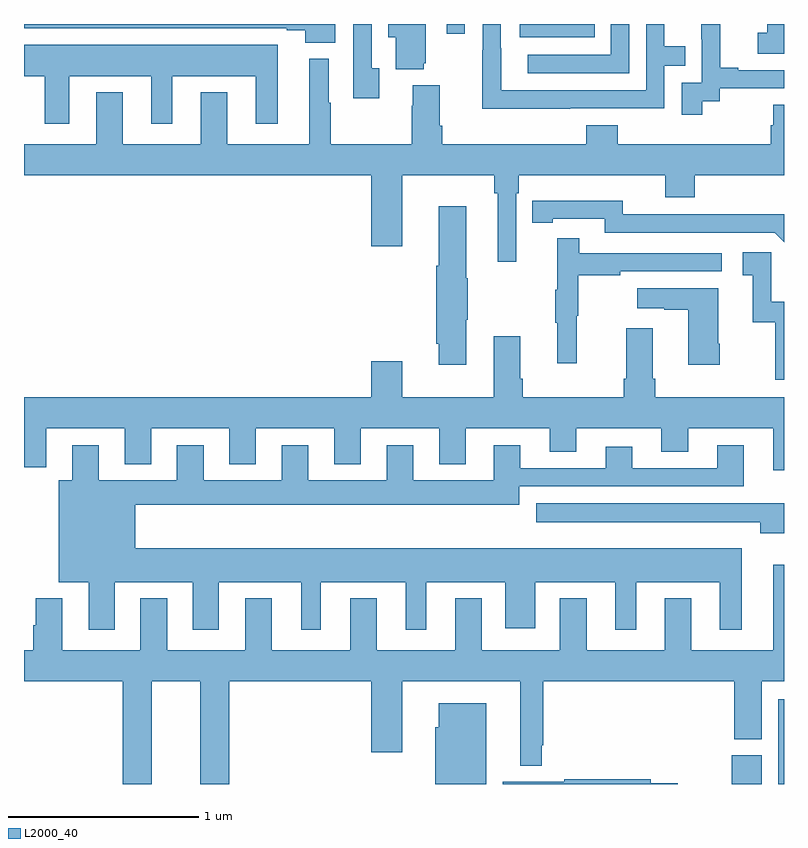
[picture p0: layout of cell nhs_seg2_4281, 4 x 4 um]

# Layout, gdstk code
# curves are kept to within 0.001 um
import gdstk
lib = gdstk.Library(unit=1e-6, precision=1e-09)
def R(c, l, rs):  # rectangles x0, y0, x1, y1
    for r in rs: c.add(gdstk.rectangle(r[:2], r[2:], *l))
def P(c, l, *ps):  # polygons
    for p in ps: c.add(gdstk.Polygon(p, *l))
L2000_40 = (2000, 40)

nhs_seg2_4281 = lib.new_cell('nhs_seg2_4281')
R(nhs_seg2_4281, L2000_40, [(346.726,609.8,346.882,609.951), (346.971,609.8,347,610.246), (345.608,613.73,346.004,613.8), (345.225,613.749,345.321,613.8)])
P(nhs_seg2_4281, L2000_40, [(346.57,613.393),(346.662,613.393),(346.662,613.461),(347,613.461),(347,613.557),(346.759,613.557),(346.759,613.57),(346.664,613.57),(346.664,613.8),(346.565,613.8),(346.565,613.721),(346.566,613.721),(346.566,613.491),(346.461,613.491),(346.461,613.323),(346.57,613.323)],
  [(344.869,613.566),(344.829,613.566),(344.829,613.8),(344.733,613.8),(344.733,613.41),(344.869,613.41)],
  [(347,613.8),(346.912,613.8),(346.912,613.753),(346.863,613.753),(346.863,613.644),(347,613.644)],
  [(346.185,613.8),(346.089,613.8),(346.089,613.638),(345.651,613.638),(345.651,613.542),(346.185,613.542)],
  [(344.638,613.8),(343,613.8),(343,613.778),(344.384,613.778),(344.384,613.766),(344.48,613.766),(344.48,613.702),(344.638,613.702)],
  [(345.875,613.356),(346.371,613.356),(346.371,613.581),(346.481,613.581),(346.481,613.682),(346.371,613.682),(346.371,613.8),(346.275,613.8),(346.275,613.452),(345.511,613.452),(345.511,613.673),(345.51,613.673),(345.51,613.8),(345.414,613.8),(345.414,613.661),(345.412,613.661),(345.412,613.355),(345.875,613.355)],
  [(345.104,613.593),(345.115,613.593),(345.115,613.8),(344.918,613.8),(344.918,613.73),(344.957,613.73),(344.957,613.562),(345.104,613.562)],
  [(343.237,613.526),(343.67,613.526),(343.67,613.275),(343.78,613.275),(343.78,613.526),(344.219,613.526),(344.219,613.275),(344.335,613.275),(344.335,613.69),(343,613.69),(343,613.526),(343.109,613.526),(343.109,613.275),(343.237,613.275)],
  [(345.591,612.908),(345.605,612.908),(345.605,613.004),(346.376,613.004),(346.376,612.887),(346.529,612.887),(346.529,613.004),(347,613.004),(347,613.376),(346.943,613.376),(346.943,613.266),(346.931,613.266),(346.931,613.168),(346.124,613.168),(346.124,613.267),(345.959,613.267),(345.959,613.168),(345.2,613.168),(345.2,613.264),(345.187,613.264),(345.187,613.477),(345.047,613.477),(345.047,613.37),(345.04,613.37),(345.04,613.168),(344.615,613.168),(344.615,613.385),(344.605,613.385),(344.605,613.617),(344.501,613.617),(344.501,613.168),(344.071,613.168),(344.071,613.441),(343.931,613.441),(343.931,613.168),(343.519,613.168),(343.519,613.441),(343.379,613.441),(343.379,613.168),(343,613.168),(343,613.004),(344.828,613.004),(344.828,612.63),(344.992,612.63),(344.992,613.004),(345.475,613.004),(345.475,612.908),(345.494,612.908),(345.494,612.549),(345.591,612.549)],
  [(347,612.8),(346.612,612.8),(346.612,612.798),(346.152,612.798),(346.152,612.871),(345.676,612.87),(345.676,612.754),(345.784,612.754),(345.784,612.774),(346.056,612.774),(346.056,612.702),(346.95,612.702),(347,612.652)],
  [(345.328,612.244),(345.336,612.244),(345.336,612.461),(345.328,612.461),(345.328,612.841),(345.182,612.841),(345.182,612.528),(345.17,612.528),(345.17,612.118),(345.182,612.118),(345.182,612.006),(345.328,612.006)],
  [(345.908,612.264),(345.916,612.264),(345.916,612.478),(346.139,612.478),(346.139,612.498),(346.672,612.498),(346.672,612.594),(345.923,612.594),(345.923,612.673),(345.806,612.673),(345.806,612.401),(345.795,612.401),(345.795,612.227),(345.806,612.227),(345.806,612.015),(345.908,612.015)],
  [(347,612.339),(346.932,612.339),(346.932,612.598),(346.782,612.598),(346.782,612.477),(346.835,612.477),(346.835,612.231),(346.953,612.231),(346.953,611.928),(347,611.928)],
  [(346.662,612.118),(346.654,612.118),(346.654,612.409),(346.227,612.409),(346.227,612.305),(346.37,612.305),(346.37,612.295),(346.496,612.295),(346.496,612.006),(346.662,612.006)],
  [(345.626,611.932),(345.613,611.932),(345.613,612.157),(345.473,612.157),(345.473,611.836),(344.992,611.836),(344.992,612.025),(344.828,612.025),(344.828,611.836),(343,611.836),(343,611.466),(343.117,611.466),(343.117,611.672),(343.529,611.672),(343.529,611.483),(343.669,611.483),(343.669,611.672),(344.081,611.672),(344.081,611.483),(344.221,611.483),(344.221,611.672),(344.633,611.672),(344.633,611.483),(344.773,611.483),(344.773,611.672),(345.185,611.672),(345.185,611.483),(345.325,611.483),(345.325,611.672),(345.767,611.672),(345.767,611.548),(345.907,611.548),(345.907,611.672),(346.355,611.672),(346.355,611.548),(346.495,611.548),(346.495,611.672),(346.943,611.672),(346.943,611.451),(347,611.451),(347,611.836),(346.322,611.836),(346.322,611.932),(346.309,611.932),(346.309,612.199),(346.169,612.199),(346.169,611.932),(346.157,611.932),(346.157,611.836),(345.626,611.836)],
  [(343.477,610.862),(343.889,610.862),(343.889,610.611),(344.026,610.611),(344.026,610.862),(344.459,610.862),(344.459,610.611),(344.563,610.611),(344.563,610.862),(345.008,610.862),(345.008,610.611),(345.118,610.611),(345.118,610.862),(345.533,610.862),(345.533,610.619),(345.691,610.619),(345.691,610.862),(346.112,610.862),(346.112,610.611),(346.222,610.611),(346.222,610.862),(346.661,610.862),(346.661,610.611),(346.777,610.611),(346.777,611.041),(343.585,611.041),(343.585,611.27),(345.607,611.27),(345.607,611.367),(346.789,611.367),(346.789,611.584),(346.649,611.584),(346.649,611.463),(346.201,611.463),(346.201,611.575),(346.061,611.575),(346.061,611.463),(345.613,611.463),(345.613,611.584),(345.473,611.584),(345.473,611.398),(345.049,611.398),(345.049,611.584),(344.909,611.584),(344.909,611.398),(344.497,611.398),(344.497,611.584),(344.357,611.584),(344.357,611.398),(343.945,611.398),(343.945,611.584),(343.805,611.584),(343.805,611.398),(343.393,611.398),(343.393,611.584),(343.253,611.584),(343.253,611.398),(343.184,611.398),(343.184,610.862),(343.34,610.862),(343.34,610.611),(343.477,610.611)],
  [(347,611.278),(345.696,611.278),(345.696,611.177),(346.874,611.177),(346.874,611.12),(347,611.12)],
  [(343.672,610.34),(343.928,610.34),(343.928,609.8),(344.081,609.8),(344.081,610.34),(344.828,610.34),(344.828,609.966),(344.992,609.966),(344.992,610.34),(345.611,610.34),(345.611,609.896),(345.726,609.896),(345.726,610.003),(345.733,610.003),(345.733,610.34),(346.739,610.34),(346.739,610.036),(346.882,610.036),(346.882,610.34),(347,610.34),(347,610.954),(346.943,610.954),(346.943,610.504),(346.513,610.504),(346.513,610.777),(346.373,610.777),(346.373,610.504),(345.961,610.504),(345.961,610.777),(345.821,610.777),(345.821,610.504),(345.409,610.504),(345.409,610.777),(345.269,610.777),(345.269,610.504),(344.857,610.504),(344.857,610.777),(344.717,610.777),(344.717,610.504),(344.305,610.504),(344.305,610.777),(344.165,610.777),(344.165,610.504),(343.753,610.504),(343.753,610.777),(343.613,610.777),(343.613,610.504),(343.201,610.504),(343.201,610.777),(343.061,610.777),(343.061,610.635),(343.049,610.635),(343.049,610.504),(343,610.504),(343,610.34),(343.52,610.34),(343.52,609.8),(343.672,609.8)],
  [(345.433,610.225),(345.182,610.225),(345.182,610.098),(345.164,610.098),(345.164,609.8),(345.433,609.8)],
  [(346.44,609.804),(346.298,609.804),(346.298,609.824),(345.844,609.824),(345.844,609.811),(345.521,609.811),(345.521,609.8),(346.44,609.8)])

lib.write_gds('nhs_seg2_4281.gds')
